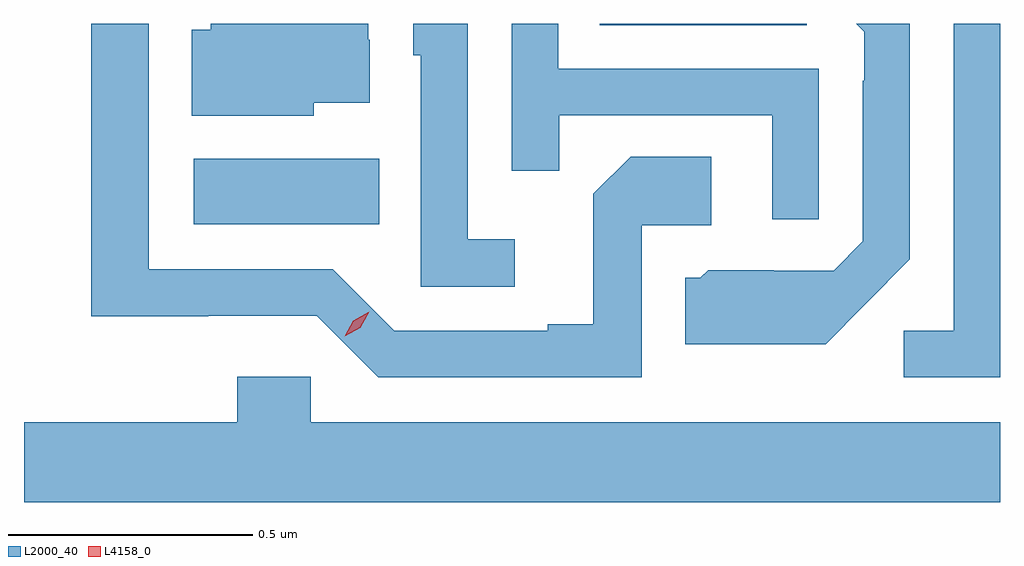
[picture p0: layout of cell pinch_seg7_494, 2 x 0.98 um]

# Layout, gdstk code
import gdstk
lib = gdstk.Library(unit=1e-6, precision=1e-09)
def R(c, l, rs):  # rectangles x0, y0, x1, y1
    for r in rs: c.add(gdstk.rectangle(r[:2], r[2:], *l))
def P(c, l, *ps):  # polygons
    for p in ps: c.add(gdstk.Polygon(p, *l))
L2000_40 = (2000, 40)
L4158_0 = (4158, 0)

pinch_seg7_494 = lib.new_cell('pinch_seg7_494')
R(pinch_seg7_494, L2000_40, [(180.444,1081.106,180.824,1081.24), (181.276,1081.514,181.7,1081.517)])
P(pinch_seg7_494, L2000_40, [(182.096,1081.517),(182.001,1081.517),(182.001,1080.888),(181.899,1080.888),(181.899,1080.792),(182.096,1080.792)],
  [(181.819,1080.941),(181.911,1081.034),(181.911,1081.517),(181.801,1081.517),(181.818,1081.5),(181.818,1081.4),(181.815,1081.4),(181.815,1081.071),(181.755,1081.011),(181.632,1081.011),(181.632,1081.012),(181.498,1081.012),(181.482,1080.996),(181.451,1080.996),(181.451,1080.86),(181.739,1080.86)],
  [(180.69,1081.355),(180.805,1081.355),(180.805,1081.484),(180.801,1081.484),(180.801,1081.517),(180.479,1081.517),(180.479,1081.504),(180.44,1081.504),(180.44,1081.328),(180.69,1081.328)],
  [(181.725,1081.425),(181.191,1081.425),(181.191,1081.517),(181.095,1081.517),(181.095,1081.216),(181.193,1081.216),(181.193,1081.329),(181.629,1081.329),(181.629,1081.116),(181.725,1081.116)],
  [(181.102,1081.075),(181.005,1081.075),(181.005,1081.517),(180.894,1081.517),(180.894,1081.452),(180.909,1081.452),(180.909,1080.978),(181.102,1080.978)],
  [(181.362,1081.104),(181.504,1081.104),(181.504,1081.244),(181.339,1081.244),(181.263,1081.168),(181.263,1080.901),(181.169,1080.901),(181.169,1080.888),(180.855,1080.888),(180.729,1081.014),(180.352,1081.014),(180.352,1081.517),(180.234,1081.517),(180.234,1080.917),(180.474,1080.917),(180.474,1080.918),(180.696,1080.918),(180.822,1080.792),(181.362,1080.792)],
  [(182.096,1080.7),(180.684,1080.7),(180.684,1080.793),(180.533,1080.793),(180.533,1080.7),(180.096,1080.7),(180.096,1080.536),(182.096,1080.536)])
P(pinch_seg7_494, L4158_0, [(180.753,1080.876),(180.753,1080.876),(180.771,1080.908),(180.803,1080.927),(180.803,1080.927),(180.803,1080.927),(180.785,1080.894),(180.753,1080.876)])

lib.write_gds('pinch_seg7_494.gds')
